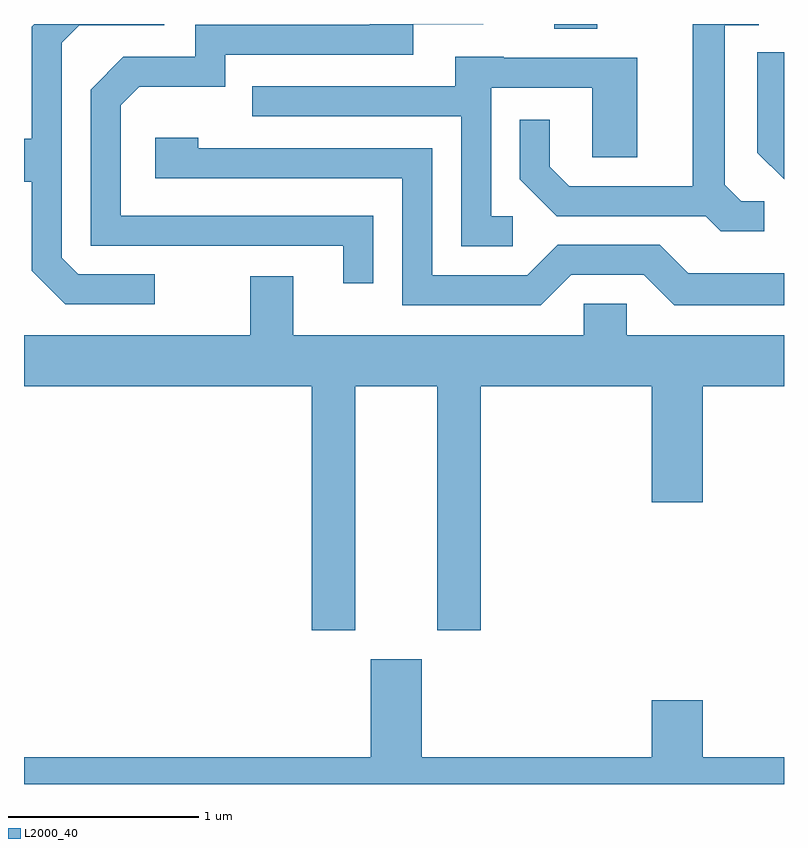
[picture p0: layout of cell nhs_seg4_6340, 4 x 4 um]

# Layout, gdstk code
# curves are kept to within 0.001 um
import gdstk
lib = gdstk.Library(unit=1e-6, precision=1e-09)
def R(c, l, rs):  # rectangles x0, y0, x1, y1
    for r in rs: c.add(gdstk.rectangle(r[:2], r[2:], *l))
def P(c, l, *ps):  # polygons
    for p in ps: c.add(gdstk.Polygon(p, *l))
L2000_40 = (2000, 40)

nhs_seg4_6340 = lib.new_cell('nhs_seg4_6340')
R(nhs_seg4_6340, L2000_40, [(374.401,1289.956,374.629,1289.982)])
P(nhs_seg4_6340, L2000_40, [(372.298,1288.664),(371.897,1288.664),(371.809,1288.752),(371.809,1289.884),(371.902,1289.976),(372.348,1289.976),(372.348,1289.982),(371.666,1289.982),(371.651,1289.967),(371.651,1289.379),(371.611,1289.379),(371.611,1289.151),(371.651,1289.151),(371.651,1288.684),(371.829,1288.506),(372.298,1288.506)],
  [(373.449,1288.974),(372.119,1288.974),(372.119,1289.554),(372.217,1289.651),(372.669,1289.651),(372.669,1289.821),(373.659,1289.821),(373.659,1289.981),(374.028,1289.982),(373.431,1289.982),(373.431,1289.979),(372.511,1289.979),(372.511,1289.809),(372.134,1289.809),(371.961,1289.637),(371.961,1288.816),(373.291,1288.816),(373.291,1288.618),(373.449,1288.618)],
  [(375.508,1289.049),(375.387,1289.049),(375.299,1289.137),(375.299,1289.976),(375.478,1289.976),(375.478,1289.982),(375.131,1289.982),(375.131,1289.129),(374.482,1289.129),(374.379,1289.232),(374.379,1289.478),(374.221,1289.478),(374.221,1289.164),(374.414,1288.971),(375.199,1288.971),(375.279,1288.891),(375.508,1288.891)],
  [(375.611,1289.833),(375.471,1289.833),(375.471,1289.304),(375.611,1289.164)],
  [(374.183,1288.969),(374.069,1288.969),(374.069,1289.646),(374.601,1289.646),(374.601,1289.281),(374.839,1289.281),(374.839,1289.804),(374.135,1289.804),(374.135,1289.809),(373.881,1289.809),(373.881,1289.654),(372.813,1289.654),(372.813,1289.496),(373.911,1289.496),(373.911,1288.811),(374.183,1288.811)],
  [(374.492,1288.661),(374.874,1288.661),(375.034,1288.501),(375.611,1288.501),(375.611,1288.669),(375.107,1288.669),(374.957,1288.819),(374.419,1288.819),(374.259,1288.659),(373.759,1288.659),(373.759,1289.329),(372.529,1289.329),(372.529,1289.384),(372.301,1289.384),(372.301,1289.171),(373.601,1289.171),(373.601,1288.501),(374.332,1288.501)],
  [(373.354,1288.076),(373.786,1288.076),(373.786,1286.791),(374.014,1286.791),(374.014,1288.076),(374.916,1288.076),(374.916,1287.466),(375.184,1287.466),(375.184,1288.076),(375.611,1288.076),(375.611,1288.344),(374.784,1288.344),(374.784,1288.509),(374.556,1288.509),(374.556,1288.344),(373.029,1288.344),(373.029,1288.654),(372.801,1288.654),(372.801,1288.344),(371.611,1288.344),(371.611,1288.076),(373.126,1288.076),(373.126,1286.791),(373.354,1286.791)],
  [(375.611,1286.124),(375.184,1286.124),(375.184,1286.424),(374.916,1286.424),(374.916,1286.124),(373.704,1286.124),(373.704,1286.639),(373.436,1286.639),(373.436,1286.124),(371.611,1286.124),(371.611,1285.982),(375.611,1285.982)])

lib.write_gds('nhs_seg4_6340.gds')
